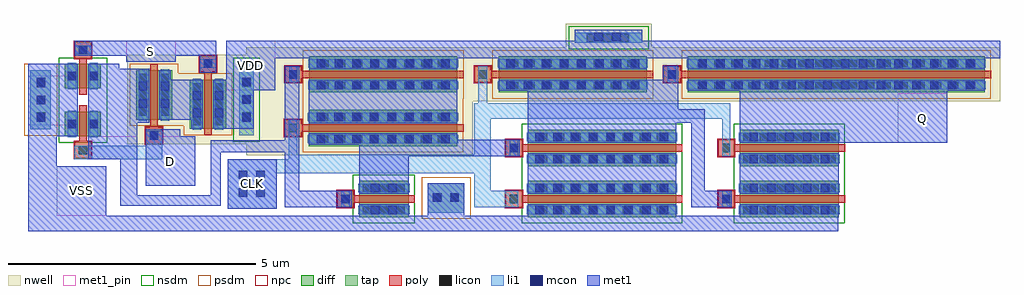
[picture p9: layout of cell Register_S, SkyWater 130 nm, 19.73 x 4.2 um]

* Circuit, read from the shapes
.subckt Register_S CLK D Q S VDD VSS
XM1 NOR2-1_0/Out D VSS VSS sky130_fd_pr__nfet_01v8 w=0.5 l=0.15
XM2 NOR2-1_0/Out S VSS VSS sky130_fd_pr__nfet_01v8 w=0.5 l=0.15
XM3 n1 NOR2-1_0/Out VSS VSS sky130_fd_pr__nfet_01v8 w=1 l=0.15
XM4 n2 CLK VSS VSS sky130_fd_pr__nfet_01v8 w=3 l=0.15
XM5 n3 n1 n2 VSS sky130_fd_pr__nfet_01v8 w=3 l=0.15
XM6 n4 n3 VSS VSS sky130_fd_pr__nfet_01v8 w=2 l=0.15
XM7 Q CLK n4 VSS sky130_fd_pr__nfet_01v8 w=2 l=0.15
XM8 n5 D NOR2-1_0/Out VDD sky130_fd_pr__pfet_01v8 w=1 l=0.15
XM9 VDD S n5 VDD sky130_fd_pr__pfet_01v8 w=1 l=0.15
XM10 n6 CLK n1 VDD sky130_fd_pr__pfet_01v8 w=3 l=0.15
XM11 VDD NOR2-1_0/Out n6 VDD sky130_fd_pr__pfet_01v8 w=3 l=0.15
XM12 VDD CLK n3 VDD sky130_fd_pr__pfet_01v8 w=3 l=0.15
XM13 VDD n3 Q VDD sky130_fd_pr__pfet_01v8 w=6 l=0.15
.ends

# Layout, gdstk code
from math import pi, radians
import gdstk
lib = gdstk.Library(unit=1e-6, precision=1e-09)
def R(c, l, rs):  # rectangles x0, y0, x1, y1
    for r in rs: c.add(gdstk.rectangle(r[:2], r[2:], *l))
def A(c, l, x, y, w, h, nx, ny, dx, dy):  # array of equal rectangles
    R(c, l, [(x+i*dx, y+j*dy, x+i*dx+w, y+j*dy+h) for i in range(nx) for j in range(ny)])
nwell = (64, 20)
diff = (65, 20)
tap = (65, 44)
poly = (66, 20)
licon = (66, 44)
li1 = (67, 20)
mcon = (67, 44)
met1_pin = (68, 16)
met1 = (68, 20)
nsdm = (93, 44)
psdm = (94, 20)
npc = (95, 20)

sky130_fd_pr__pfet_01v8_ = lib.new_cell('sky130_fd_pr__pfet_01v8_CWU6PJ')
R(sky130_fd_pr__pfet_01v8_, nwell, [(-0.545,-0.99,0.545,0.82)])
R(sky130_fd_pr__pfet_01v8_, diff, [(-0.365,-0.68,0.365,0.32)])
R(sky130_fd_pr__pfet_01v8_, poly, [(-0.075,-0.81,0.075,0.475), (-0.165,0.475,0.165,0.805)])
A(sky130_fd_pr__pfet_01v8_, licon, -0.305, -0.605, 0.17, 0.17, 1, 3, 0, 0.34)
A(sky130_fd_pr__pfet_01v8_, licon, 0.135, -0.605, 0.17, 0.17, 1, 3, 0, 0.34)
R(sky130_fd_pr__pfet_01v8_, licon, [(-0.085,0.555,0.085,0.725)])
R(sky130_fd_pr__pfet_01v8_, li1, [(-0.305,-0.7,-0.135,0.34), (0.135,-0.7,0.305,0.34), (-0.165,0.555,0.165,0.725)])
R(sky130_fd_pr__pfet_01v8_, mcon, [(-0.305,-0.445,-0.135,-0.275), (0.135,-0.445,0.305,-0.275), (-0.305,-0.085,-0.135,0.085), (0.135,-0.085,0.305,0.085), (-0.085,0.555,0.085,0.725)])
R(sky130_fd_pr__pfet_01v8_, met1, [(-0.335,-0.68,-0.105,0.32), (0.105,-0.68,0.335,0.32), (-0.145,0.525,0.145,0.755)])
R(sky130_fd_pr__pfet_01v8_, psdm, [(-0.49,-0.805,0.49,0.445)])
R(sky130_fd_pr__pfet_01v8_, npc, [(-0.185,0.455,0.185,0.825)])

sky130_fd_pr__nfet_01v8_ = lib.new_cell('sky130_fd_pr__nfet_01v8_8DMXDH')
R(sky130_fd_pr__nfet_01v8_, diff, [(-0.365,-0.405,0.365,0.095)])
R(sky130_fd_pr__nfet_01v8_, poly, [(-0.075,-0.535,0.075,0.205), (-0.165,0.205,0.165,0.535)])
R(sky130_fd_pr__nfet_01v8_, licon, [(-0.305,-0.24,-0.135,-0.07), (0.135,-0.24,0.305,-0.07), (-0.085,0.285,0.085,0.455)])
R(sky130_fd_pr__nfet_01v8_, li1, [(-0.305,-0.425,-0.135,0.115), (0.135,-0.425,0.305,0.115), (-0.165,0.285,0.165,0.455)])
R(sky130_fd_pr__nfet_01v8_, mcon, [(-0.305,-0.24,-0.135,-0.07), (0.135,-0.24,0.305,-0.07), (-0.085,0.285,0.085,0.455)])
R(sky130_fd_pr__nfet_01v8_, met1, [(-0.335,-0.405,-0.105,0.095), (0.105,-0.405,0.335,0.095), (-0.145,0.255,0.145,0.485)])
R(sky130_fd_pr__nfet_01v8_, nsdm, [(-0.49,-0.53,0.49,0.22)])
R(sky130_fd_pr__nfet_01v8_, npc, [(-0.185,0.185,0.185,0.555)])

c_sky130_fd_pr__nfet_01v8_ = lib.new_cell('sky130_fd_pr__nfet_01v8_CQHVT8')
R(c_sky130_fd_pr__nfet_01v8_, diff, [(-0.365,-0.405,0.365,0.095)])
R(c_sky130_fd_pr__nfet_01v8_, poly, [(-0.075,-0.535,0.075,0.205), (-0.165,0.205,0.165,0.535)])
R(c_sky130_fd_pr__nfet_01v8_, licon, [(-0.305,-0.24,-0.135,-0.07), (0.135,-0.24,0.305,-0.07), (-0.085,0.285,0.085,0.455)])
R(c_sky130_fd_pr__nfet_01v8_, li1, [(-0.305,-0.425,-0.135,0.115), (0.135,-0.425,0.305,0.115), (-0.165,0.285,0.165,0.455)])
R(c_sky130_fd_pr__nfet_01v8_, mcon, [(-0.305,-0.24,-0.135,-0.07), (0.135,-0.24,0.305,-0.07)])
R(c_sky130_fd_pr__nfet_01v8_, met1, [(-0.335,-0.405,-0.105,0.095), (0.105,-0.405,0.335,0.095)])
R(c_sky130_fd_pr__nfet_01v8_, nsdm, [(-0.49,-0.53,0.49,0.22)])
R(c_sky130_fd_pr__nfet_01v8_, npc, [(-0.185,0.185,0.185,0.555)])

nor2_1 = lib.new_cell('NOR2-1')
R(nor2_1, nwell, [(2.92,0.17,4.73,0.91)])
R(nor2_1, tap, [(3.23,-3.79,4.43,-3.37), (3.1,0.44,4.55,0.73)])
A(nor2_1, licon, 3.405, -3.66, 0.17, 0.17, 3, 1, 0.34, 0)
A(nor2_1, licon, 3.4, 0.495, 0.17, 0.17, 3, 1, 0.34, 0)
R(nor2_1, li1, [(3.23,-3.79,4.43,-3.37), (4.76,-2.9,5.03,-1.45), (4.46,-1.45,5.03,-1.12), (3.1,0.44,4.55,0.73)])
A(nor2_1, mcon, 3.385, -3.66, 0.17, 0.17, 3, 1, 0.36, 0)
A(nor2_1, mcon, 3.38, 0.495, 0.17, 0.17, 3, 1, 0.36, 0)
R(nor2_1, met1_pin, [(3.34,-3.83,4.34,-2.83), (4.57,-2.62,5.03,-1.62), (2.64,-1.85,3.06,-0.85), (4.57,-1.45,5.03,-0.45), (3.42,-0.09,3.46,0.73)])
R(nor2_1, met1, [(3.1,-3.83,4.57,-2.83), (2.64,-2.89,2.94,-1.85), (3.1,-2.62,4.31,-2.39), (4.57,-2.62,5.03,-2.39), (3.1,-2.39,5.03,-1.99), (3.2,-1.99,5.03,-1.62), (2.64,-1.85,3.06,-0.85), (3.2,-1.62,4.29,-1.38), (4.43,-1.45,5.03,-0.76), (3.42,-1.18,4.23,-0.3), (2.64,-0.85,2.94,-0.36), (4.57,-0.76,5.03,-0.45), (2.64,-0.36,3.28,-0.03), (3.42,-0.09,4.42,0.17), (2.92,0.17,4.42,0.73)])
R(nor2_1, nsdm, [(3.725,-3.215,3.945,-2.235), (2.975,0.315,4.675,0.855)])
R(nor2_1, psdm, [(3.105,-3.915,4.555,-3.245), (3.295,-0.795,4.355,-0.685)])
nor2_1.add(gdstk.Reference(sky130_fd_pr__pfet_01v8_, (3.91,-1.285), rotation=3*pi/2))
nor2_1.add(gdstk.Reference(sky130_fd_pr__nfet_01v8_, (3.195,-2.725), rotation=pi/2))
nor2_1.add(gdstk.Reference(c_sky130_fd_pr__nfet_01v8_, (4.475,-2.725), rotation=3*pi/2))
nor2_1.add(gdstk.Reference(sky130_fd_pr__pfet_01v8_, (3.74,-0.195), rotation=pi/2))
nor2_1.add(gdstk.Label('VDD', (3.44,0.32), layer=68, texttype=5))
nor2_1.add(gdstk.Label('In_1', (2.85,-1.35), layer=68, texttype=5))
nor2_1.add(gdstk.Label('Out', (4.8,-2.12), layer=68, texttype=5))
nor2_1.add(gdstk.Label('In_2', (4.8,-0.95), layer=68, texttype=5))
nor2_1.add(gdstk.Label('VSS', (3.84,-3.33), layer=68, texttype=5))

c_sky130_fd_pr__nfet_01v8__ = lib.new_cell('sky130_fd_pr__nfet_01v8_NTFR9R')
R(c_sky130_fd_pr__nfet_01v8__, diff, [(-0.365,-0.655,0.365,0.345)])
R(c_sky130_fd_pr__nfet_01v8__, poly, [(-0.075,-0.785,0.075,0.455), (-0.165,0.455,0.165,0.785)])
A(c_sky130_fd_pr__nfet_01v8__, licon, -0.305, -0.58, 0.17, 0.17, 1, 3, 0, 0.34)
A(c_sky130_fd_pr__nfet_01v8__, licon, 0.135, -0.58, 0.17, 0.17, 1, 3, 0, 0.34)
R(c_sky130_fd_pr__nfet_01v8__, licon, [(-0.085,0.535,0.085,0.705)])
R(c_sky130_fd_pr__nfet_01v8__, li1, [(-0.305,-0.675,-0.135,0.365), (0.135,-0.675,0.305,0.365), (-0.165,0.535,0.165,0.705)])
R(c_sky130_fd_pr__nfet_01v8__, mcon, [(-0.305,-0.42,-0.135,-0.25), (0.135,-0.42,0.305,-0.25), (-0.305,-0.06,-0.135,0.11), (0.135,-0.06,0.305,0.11), (-0.085,0.535,0.085,0.705)])
R(c_sky130_fd_pr__nfet_01v8__, met1, [(-0.335,-0.655,-0.105,0.345), (0.105,-0.655,0.335,0.345), (-0.145,0.505,0.145,0.735)])
R(c_sky130_fd_pr__nfet_01v8__, nsdm, [(-0.49,-0.78,0.49,0.47)])
R(c_sky130_fd_pr__nfet_01v8__, npc, [(-0.185,0.435,0.185,0.805)])

c_sky130_fd_pr__pfet_01v8_ = lib.new_cell('sky130_fd_pr__pfet_01v8_CE284K')
R(c_sky130_fd_pr__pfet_01v8_, nwell, [(-0.545,-1.99,0.545,1.82)])
R(c_sky130_fd_pr__pfet_01v8_, diff, [(-0.365,-1.68,0.365,1.32)])
R(c_sky130_fd_pr__pfet_01v8_, poly, [(-0.075,-1.81,0.075,1.475), (-0.165,1.475,0.165,1.805)])
A(c_sky130_fd_pr__pfet_01v8_, licon, -0.305, -1.455, 0.17, 0.17, 1, 8, 0, 0.34)
A(c_sky130_fd_pr__pfet_01v8_, licon, 0.135, -1.455, 0.17, 0.17, 1, 8, 0, 0.34)
R(c_sky130_fd_pr__pfet_01v8_, licon, [(-0.085,1.555,0.085,1.725)])
R(c_sky130_fd_pr__pfet_01v8_, li1, [(-0.305,-1.7,-0.135,1.34), (0.135,-1.7,0.305,1.34), (-0.165,1.555,0.165,1.725)])
A(c_sky130_fd_pr__pfet_01v8_, mcon, -0.305, -1.525, 0.17, 0.17, 1, 8, 0, 0.36)
A(c_sky130_fd_pr__pfet_01v8_, mcon, 0.135, -1.525, 0.17, 0.17, 1, 8, 0, 0.36)
R(c_sky130_fd_pr__pfet_01v8_, mcon, [(-0.085,1.555,0.085,1.725)])
R(c_sky130_fd_pr__pfet_01v8_, met1, [(-0.335,-1.68,-0.105,1.32), (0.105,-1.68,0.335,1.32), (-0.145,1.525,0.145,1.755)])
R(c_sky130_fd_pr__pfet_01v8_, psdm, [(-0.49,-1.805,0.49,1.445)])
R(c_sky130_fd_pr__pfet_01v8_, npc, [(-0.185,1.455,0.185,1.825)])

c_sky130_fd_pr__pfet_01v8__ = lib.new_cell('sky130_fd_pr__pfet_01v8_YRA8CD')
R(c_sky130_fd_pr__pfet_01v8__, nwell, [(-0.545,-1.99,0.545,1.82)])
R(c_sky130_fd_pr__pfet_01v8__, diff, [(-0.365,-1.68,0.365,1.32)])
R(c_sky130_fd_pr__pfet_01v8__, poly, [(-0.075,-1.81,0.075,1.475), (-0.165,1.475,0.165,1.805)])
A(c_sky130_fd_pr__pfet_01v8__, licon, -0.305, -1.455, 0.17, 0.17, 1, 8, 0, 0.34)
A(c_sky130_fd_pr__pfet_01v8__, licon, 0.135, -1.455, 0.17, 0.17, 1, 8, 0, 0.34)
R(c_sky130_fd_pr__pfet_01v8__, licon, [(-0.085,1.555,0.085,1.725)])
R(c_sky130_fd_pr__pfet_01v8__, li1, [(-0.305,-1.7,-0.135,1.34), (0.135,-1.7,0.305,1.34), (-0.165,1.555,0.165,1.725)])
A(c_sky130_fd_pr__pfet_01v8__, mcon, -0.305, -1.525, 0.17, 0.17, 1, 8, 0, 0.36)
A(c_sky130_fd_pr__pfet_01v8__, mcon, 0.135, -1.525, 0.17, 0.17, 1, 8, 0, 0.36)
R(c_sky130_fd_pr__pfet_01v8__, met1, [(-0.335,-1.68,-0.105,1.32), (0.105,-1.68,0.335,1.32)])
R(c_sky130_fd_pr__pfet_01v8__, psdm, [(-0.49,-1.805,0.49,1.445)])
R(c_sky130_fd_pr__pfet_01v8__, npc, [(-0.185,1.455,0.185,1.825)])

c_sky130_fd_pr__nfet_01v8___ = lib.new_cell('sky130_fd_pr__nfet_01v8_5R7S7E')
R(c_sky130_fd_pr__nfet_01v8___, diff, [(-0.365,-1.655,0.365,1.345)])
R(c_sky130_fd_pr__nfet_01v8___, poly, [(-0.075,-1.785,0.075,1.455), (-0.165,1.455,0.165,1.785)])
A(c_sky130_fd_pr__nfet_01v8___, licon, -0.305, -1.43, 0.17, 0.17, 1, 8, 0, 0.34)
A(c_sky130_fd_pr__nfet_01v8___, licon, 0.135, -1.43, 0.17, 0.17, 1, 8, 0, 0.34)
R(c_sky130_fd_pr__nfet_01v8___, licon, [(-0.085,1.535,0.085,1.705)])
R(c_sky130_fd_pr__nfet_01v8___, li1, [(-0.305,-1.675,-0.135,1.365), (0.135,-1.675,0.305,1.365), (-0.165,1.535,0.165,1.705)])
A(c_sky130_fd_pr__nfet_01v8___, mcon, -0.305, -1.5, 0.17, 0.17, 1, 8, 0, 0.36)
A(c_sky130_fd_pr__nfet_01v8___, mcon, 0.135, -1.5, 0.17, 0.17, 1, 8, 0, 0.36)
R(c_sky130_fd_pr__nfet_01v8___, met1, [(-0.335,-1.655,-0.105,1.345), (0.105,-1.655,0.335,1.345)])
R(c_sky130_fd_pr__nfet_01v8___, nsdm, [(-0.49,-1.78,0.49,1.47)])
R(c_sky130_fd_pr__nfet_01v8___, npc, [(-0.185,1.435,0.185,1.805)])

c_sky130_fd_pr__nfet_01v8____ = lib.new_cell('sky130_fd_pr__nfet_01v8_KNTFKG')
R(c_sky130_fd_pr__nfet_01v8____, diff, [(-0.365,-1.655,0.365,1.345)])
R(c_sky130_fd_pr__nfet_01v8____, poly, [(-0.075,-1.785,0.075,1.455), (-0.165,1.455,0.165,1.785)])
A(c_sky130_fd_pr__nfet_01v8____, licon, -0.305, -1.43, 0.17, 0.17, 1, 8, 0, 0.34)
A(c_sky130_fd_pr__nfet_01v8____, licon, 0.135, -1.43, 0.17, 0.17, 1, 8, 0, 0.34)
R(c_sky130_fd_pr__nfet_01v8____, licon, [(-0.085,1.535,0.085,1.705)])
R(c_sky130_fd_pr__nfet_01v8____, li1, [(-0.305,-1.675,-0.135,1.365), (0.135,-1.675,0.305,1.365), (-0.165,1.535,0.165,1.705)])
A(c_sky130_fd_pr__nfet_01v8____, mcon, -0.305, -1.5, 0.17, 0.17, 1, 8, 0, 0.36)
A(c_sky130_fd_pr__nfet_01v8____, mcon, 0.135, -1.5, 0.17, 0.17, 1, 8, 0, 0.36)
R(c_sky130_fd_pr__nfet_01v8____, mcon, [(-0.085,1.535,0.085,1.705)])
R(c_sky130_fd_pr__nfet_01v8____, met1, [(-0.335,-1.655,-0.105,1.345), (0.105,-1.655,0.335,1.345), (-0.145,1.505,0.145,1.735)])
R(c_sky130_fd_pr__nfet_01v8____, nsdm, [(-0.49,-1.78,0.49,1.47)])
R(c_sky130_fd_pr__nfet_01v8____, npc, [(-0.185,1.435,0.185,1.805)])

c_sky130_fd_pr__pfet_01v8___ = lib.new_cell('sky130_fd_pr__pfet_01v8_C6DMSJ')
R(c_sky130_fd_pr__pfet_01v8___, nwell, [(-0.545,-3.49,0.545,3.32)])
R(c_sky130_fd_pr__pfet_01v8___, diff, [(-0.365,-3.18,0.365,2.82)])
R(c_sky130_fd_pr__pfet_01v8___, poly, [(-0.075,-3.31,0.075,2.975), (-0.165,2.975,0.165,3.305)])
A(c_sky130_fd_pr__pfet_01v8___, licon, -0.305, -2.985, 0.17, 0.17, 1, 17, 0, 0.34)
A(c_sky130_fd_pr__pfet_01v8___, licon, 0.135, -2.985, 0.17, 0.17, 1, 17, 0, 0.34)
R(c_sky130_fd_pr__pfet_01v8___, licon, [(-0.085,3.055,0.085,3.225)])
R(c_sky130_fd_pr__pfet_01v8___, li1, [(-0.305,-3.2,-0.135,2.84), (0.135,-3.2,0.305,2.84), (-0.165,3.055,0.165,3.225)])
A(c_sky130_fd_pr__pfet_01v8___, mcon, -0.305, -2.965, 0.17, 0.17, 1, 16, 0, 0.36)
A(c_sky130_fd_pr__pfet_01v8___, mcon, 0.135, -2.965, 0.17, 0.17, 1, 16, 0, 0.36)
R(c_sky130_fd_pr__pfet_01v8___, mcon, [(-0.085,3.055,0.085,3.225)])
R(c_sky130_fd_pr__pfet_01v8___, met1, [(-0.335,-3.18,-0.105,2.82), (0.105,-3.18,0.335,2.82), (-0.145,3.025,0.145,3.255)])
R(c_sky130_fd_pr__pfet_01v8___, psdm, [(-0.49,-3.305,0.49,2.945)])
R(c_sky130_fd_pr__pfet_01v8___, npc, [(-0.185,2.955,0.185,3.325)])

c_sky130_fd_pr__nfet_01v8_____ = lib.new_cell('sky130_fd_pr__nfet_01v8_28RQMS')
R(c_sky130_fd_pr__nfet_01v8_____, diff, [(-0.365,-1.155,0.365,0.845)])
R(c_sky130_fd_pr__nfet_01v8_____, poly, [(-0.075,-1.285,0.075,0.955), (-0.165,0.955,0.165,1.285)])
A(c_sky130_fd_pr__nfet_01v8_____, licon, -0.305, -1.09, 0.17, 0.17, 1, 6, 0, 0.34)
A(c_sky130_fd_pr__nfet_01v8_____, licon, 0.135, -1.09, 0.17, 0.17, 1, 6, 0, 0.34)
R(c_sky130_fd_pr__nfet_01v8_____, licon, [(-0.085,1.035,0.085,1.205)])
R(c_sky130_fd_pr__nfet_01v8_____, li1, [(-0.305,-1.175,-0.135,0.865), (0.135,-1.175,0.305,0.865), (-0.165,1.035,0.165,1.205)])
A(c_sky130_fd_pr__nfet_01v8_____, mcon, -0.305, -0.96, 0.17, 0.17, 1, 5, 0, 0.36)
A(c_sky130_fd_pr__nfet_01v8_____, mcon, 0.135, -0.96, 0.17, 0.17, 1, 5, 0, 0.36)
R(c_sky130_fd_pr__nfet_01v8_____, mcon, [(-0.085,1.035,0.085,1.205)])
R(c_sky130_fd_pr__nfet_01v8_____, met1, [(-0.335,-1.155,-0.105,0.845), (0.105,-1.155,0.335,0.845), (-0.145,1.005,0.145,1.235)])
R(c_sky130_fd_pr__nfet_01v8_____, nsdm, [(-0.49,-1.28,0.49,0.97)])
R(c_sky130_fd_pr__nfet_01v8_____, npc, [(-0.185,0.935,0.185,1.305)])

c_sky130_fd_pr__nfet_01v8______ = lib.new_cell('sky130_fd_pr__nfet_01v8_TUG65L')
R(c_sky130_fd_pr__nfet_01v8______, diff, [(-0.365,-1.155,0.365,0.845)])
R(c_sky130_fd_pr__nfet_01v8______, poly, [(-0.075,-1.285,0.075,0.955), (-0.165,0.955,0.165,1.285)])
A(c_sky130_fd_pr__nfet_01v8______, licon, -0.305, -1.09, 0.17, 0.17, 1, 6, 0, 0.34)
A(c_sky130_fd_pr__nfet_01v8______, licon, 0.135, -1.09, 0.17, 0.17, 1, 6, 0, 0.34)
R(c_sky130_fd_pr__nfet_01v8______, licon, [(-0.085,1.035,0.085,1.205)])
R(c_sky130_fd_pr__nfet_01v8______, li1, [(-0.305,-1.175,-0.135,0.865), (0.135,-1.175,0.305,0.865), (-0.165,1.035,0.165,1.205)])
A(c_sky130_fd_pr__nfet_01v8______, mcon, -0.305, -0.96, 0.17, 0.17, 1, 5, 0, 0.36)
A(c_sky130_fd_pr__nfet_01v8______, mcon, 0.135, -0.96, 0.17, 0.17, 1, 5, 0, 0.36)
R(c_sky130_fd_pr__nfet_01v8______, met1, [(-0.335,-1.155,-0.105,0.845), (0.105,-1.155,0.335,0.845)])
R(c_sky130_fd_pr__nfet_01v8______, nsdm, [(-0.49,-1.28,0.49,0.97)])
R(c_sky130_fd_pr__nfet_01v8______, npc, [(-0.185,0.935,0.185,1.305)])

register_s = lib.new_cell('Register_S')
R(register_s, nwell, [(3.32,-4.76,4.75,-2.58), (7.83,-3.67,8.35,-2.58), (11.62,-3.67,12.05,-2.58), (9.78,-2.58,11.52,-2.1)])
R(register_s, tap, [(6.99,-5.92,7.73,-5.33), (9.96,-2.49,11.33,-2.28)])
A(register_s, licon, 10.2, -2.47, 0.17, 0.17, 3, 1, 0.34, 0)
R(register_s, licon, [(7.1,-5.7,7.27,-5.53), (7.44,-5.7,7.61,-5.53)])
R(register_s, li1, [(6.99,-5.92,7.73,-5.33), (2.94,-5.84,3.94,-5.13), (7.93,-5.81,8.82,-5.48), (7.93,-5.48,8.26,-5.13), (2.94,-5.13,8.26,-4.84), (4.18,-4.84,8.26,-4.75), (12.94,-4.78,13.11,-4.02), (4.18,-4.75,4.35,-4.04), (7.93,-4.75,8.26,-4.02), (7.93,-4.02,13.11,-3.71), (8.01,-3.71,8.19,-2.96), (9.96,-2.49,11.33,-2.28)])
R(register_s, mcon, [(7.09,-5.7,7.26,-5.53), (7.45,-5.7,7.62,-5.53), (3.165,-5.6,3.335,-5.43), (3.525,-5.6,3.695,-5.43), (3.165,-5.24,3.335,-5.07), (3.525,-5.24,3.695,-5.07), (10.36,-2.455,10.53,-2.285), (10.72,-2.455,10.89,-2.285)])
R(register_s, met1_pin, [(-0.51,-5.98,0.49,-4.98), (2.94,-5.84,3.94,-4.84), (1.29,-5.38,2.29,-4.38), (16.49,-4.51,17.49,-3.51), (2.91,-3.45,3.91,-2.45), (0.89,-2.87,1.89,-2.47)])
R(register_s, met1, [(-1.09,-6.3,15.29,-5.98), (-1.09,-5.98,0.49,-4.98), (6.99,-5.98,7.73,-5.33), (2.94,-5.84,3.94,-4.84), (4.1,-5.81,5.45,-5.48), (12.32,-5.81,13.14,-5.48), (0.77,-5.78,2.8,-5.57), (0.77,-5.57,1.12,-4.48), (2.6,-5.57,2.8,-4.7), (5.6,-5.54,6.6,-4.78), (9.01,-5.54,12.01,-4.72), (13.3,-5.54,15.3,-4.72), (4.1,-5.48,4.39,-4.7), (12.32,-5.48,12.59,-4.1), (1.29,-5.38,2.29,-4.38), (-1.09,-4.98,-0.51,-4.31), (5.6,-4.78,8.85,-4.45), (2.6,-4.7,4.39,-4.46), (9.01,-4.51,12.01,-4.1), (13.3,-4.51,17.49,-3.38), (4.1,-4.46,4.39,-2.96), (5.6,-4.45,6.6,-4.4), (4.58,-4.11,7.59,-3.23), (9.01,-4.1,12.59,-3.83), (9.01,-3.83,12.05,-3.23), (2.91,-3.45,3.91,-2.8), (15.07,-3.38,17.49,-3.35), (15.07,-3.35,16.49,-3.33), (11.75,-3.23,12.05,-2.95), (0.89,-2.87,1.89,-2.47), (2.91,-2.8,18.56,-2.45), (9.96,-2.45,11.33,-2.22)])
R(register_s, nsdm, [(8.885,-5.155,12.135,-5.105), (13.175,-5.155,15.425,-5.105), (9.835,-2.615,11.455,-2.155)])
R(register_s, psdm, [(6.865,-6.045,7.855,-5.205), (4.465,-3.72,7.71,-3.615)])
register_s.add(gdstk.Reference(nor2_1, (2.74,0.19), rotation=3*pi/2))
register_s.add(gdstk.Reference(c_sky130_fd_pr__nfet_01v8__, (5.945,-5.645), rotation=pi/2))
register_s.add(gdstk.Reference(c_sky130_fd_pr__pfet_01v8_, (5.91,-3.125), rotation=pi/2))
register_s.add(gdstk.Reference(c_sky130_fd_pr__pfet_01v8__, (5.905,-4.21), rotation=pi/2))
register_s.add(gdstk.Reference(c_sky130_fd_pr__nfet_01v8___, (10.355,-5.645), rotation=pi/2))
register_s.add(gdstk.Reference(c_sky130_fd_pr__pfet_01v8__, (9.74,-3.125), rotation=pi/2))
register_s.add(gdstk.Reference(c_sky130_fd_pr__nfet_01v8____, (10.355,-4.615), rotation=pi/2))
register_s.add(gdstk.Reference(c_sky130_fd_pr__pfet_01v8___, (15.07,-3.125), rotation=pi/2))
register_s.add(gdstk.Reference(c_sky130_fd_pr__nfet_01v8_____, (14.145,-5.645), rotation=pi/2))
register_s.add(gdstk.Reference(c_sky130_fd_pr__nfet_01v8______, (14.145,-4.615), rotation=pi/2))
register_s.add(gdstk.Label('VDD', (3.41,-2.95), layer=68, texttype=5))
register_s.add(gdstk.Label('Q', (16.99,-4.01), layer=68, texttype=5))
register_s.add(gdstk.Label('S', (1.39,-2.67), layer=68, texttype=5))
register_s.add(gdstk.Label('VSS', (-0.01,-5.48), layer=68, texttype=5))
register_s.add(gdstk.Label('D', (1.79,-4.88), layer=68, texttype=5))
register_s.add(gdstk.Label('CLK', (3.44,-5.34), layer=68, texttype=5))

lib.write_gds('Register_S.gds')
